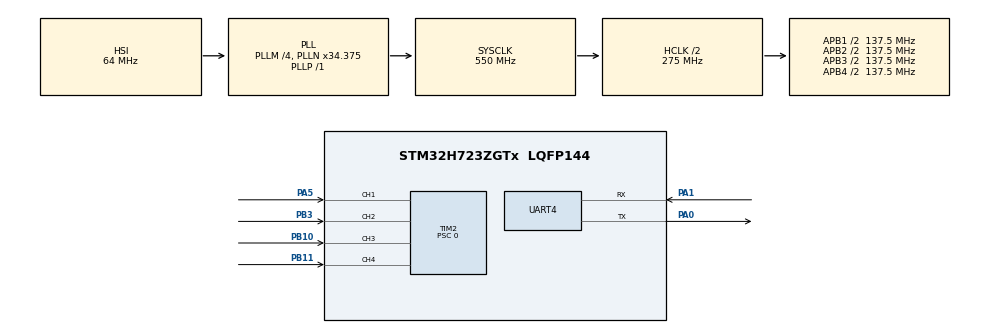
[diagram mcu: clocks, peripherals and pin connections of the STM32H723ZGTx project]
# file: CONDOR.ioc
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CORTEX_M7.default_mode_Activation=1
Dma.Request0=TIM2_CH1
Dma.Request1=TIM2_CH2
Dma.Request2=TIM2_CH3
Dma.Request3=TIM2_CH4
Dma.TIM2_CH1.0.Direction=DMA_PERIPH_TO_MEMORY
Dma.TIM2_CH1.0.EventEnable=DISABLE
Dma.TIM2_CH1.0.FIFOMode=DMA_FIFOMODE_DISABLE
Dma.TIM2_CH1.0.Instance=DMA1_Stream0
Dma.TIM2_CH1.0.MemDataAlignment=DMA_MDATAALIGN_WORD
Dma.TIM2_CH1.0.MemInc=DMA_MINC_ENABLE
Dma.TIM2_CH1.0.Mode=DMA_CIRCULAR
Dma.TIM2_CH1.0.PeriphDataAlignment=DMA_PDATAALIGN_WORD
Dma.TIM2_CH1.0.PeriphInc=DMA_PINC_DISABLE
Dma.TIM2_CH1.0.Polarity=HAL_DMAMUX_REQ_GEN_RISING
Dma.TIM2_CH1.0.Priority=DMA_PRIORITY_LOW
Dma.TIM2_CH1.0.RequestNumber=1
Dma.TIM2_CH1.0.SignalID=NONE
Dma.TIM2_CH1.0.SyncEnable=DISABLE
Dma.TIM2_CH1.0.SyncPolarity=HAL_DMAMUX_SYNC_NO_EVENT
Dma.TIM2_CH1.0.SyncRequestNumber=1
Dma.TIM2_CH1.0.SyncSignalID=NONE
Dma.TIM2_CH2.1.Direction=DMA_PERIPH_TO_MEMORY
Dma.TIM2_CH2.1.EventEnable=DISABLE
Dma.TIM2_CH2.1.FIFOMode=DMA_FIFOMODE_DISABLE
Dma.TIM2_CH2.1.Instance=DMA1_Stream1
Dma.TIM2_CH2.1.MemDataAlignment=DMA_MDATAALIGN_WORD
Dma.TIM2_CH2.1.MemInc=DMA_MINC_ENABLE
Dma.TIM2_CH2.1.Mode=DMA_CIRCULAR
Dma.TIM2_CH2.1.PeriphDataAlignment=DMA_PDATAALIGN_WORD
Dma.TIM2_CH2.1.PeriphInc=DMA_PINC_DISABLE
Dma.TIM2_CH2.1.Polarity=HAL_DMAMUX_REQ_GEN_RISING
Dma.TIM2_CH2.1.Priority=DMA_PRIORITY_LOW
Dma.TIM2_CH2.1.RequestNumber=1
Dma.TIM2_CH2.1.SignalID=NONE
Dma.TIM2_CH2.1.SyncEnable=DISABLE
Dma.TIM2_CH2.1.SyncPolarity=HAL_DMAMUX_SYNC_NO_EVENT
Dma.TIM2_CH2.1.SyncRequestNumber=1
Dma.TIM2_CH2.1.SyncSignalID=NONE
Dma.TIM2_CH3.2.Direction=DMA_PERIPH_TO_MEMORY
Dma.TIM2_CH3.2.EventEnable=DISABLE
Dma.TIM2_CH3.2.FIFOMode=DMA_FIFOMODE_DISABLE
Dma.TIM2_CH3.2.Instance=DMA1_Stream2
Dma.TIM2_CH3.2.MemDataAlignment=DMA_MDATAALIGN_WORD
Dma.TIM2_CH3.2.MemInc=DMA_MINC_ENABLE
Dma.TIM2_CH3.2.Mode=DMA_CIRCULAR
Dma.TIM2_CH3.2.PeriphDataAlignment=DMA_PDATAALIGN_WORD
Dma.TIM2_CH3.2.PeriphInc=DMA_PINC_DISABLE
Dma.TIM2_CH3.2.Polarity=HAL_DMAMUX_REQ_GEN_RISING
Dma.TIM2_CH3.2.Priority=DMA_PRIORITY_LOW
Dma.TIM2_CH3.2.RequestNumber=1
Dma.TIM2_CH3.2.SignalID=NONE
Dma.TIM2_CH3.2.SyncEnable=DISABLE
Dma.TIM2_CH3.2.SyncPolarity=HAL_DMAMUX_SYNC_NO_EVENT
Dma.TIM2_CH3.2.SyncRequestNumber=1
Dma.TIM2_CH3.2.SyncSignalID=NONE
Dma.TIM2_CH4.3.Direction=DMA_PERIPH_TO_MEMORY
Dma.TIM2_CH4.3.EventEnable=DISABLE
Dma.TIM2_CH4.3.FIFOMode=DMA_FIFOMODE_DISABLE
Dma.TIM2_CH4.3.Instance=DMA1_Stream3
Dma.TIM2_CH4.3.MemDataAlignment=DMA_MDATAALIGN_WORD
Dma.TIM2_CH4.3.MemInc=DMA_MINC_ENABLE
Dma.TIM2_CH4.3.Mode=DMA_CIRCULAR
Dma.TIM2_CH4.3.PeriphDataAlignment=DMA_PDATAALIGN_WORD
Dma.TIM2_CH4.3.PeriphInc=DMA_PINC_DISABLE
Dma.TIM2_CH4.3.Polarity=HAL_DMAMUX_REQ_GEN_RISING
Dma.TIM2_CH4.3.Priority=DMA_PRIORITY_LOW
Dma.TIM2_CH4.3.RequestNumber=1
Dma.TIM2_CH4.3.SignalID=NONE
Dma.TIM2_CH4.3.SyncEnable=DISABLE
Dma.TIM2_CH4.3.SyncPolarity=HAL_DMAMUX_SYNC_NO_EVENT
Dma.TIM2_CH4.3.SyncRequestNumber=1
Dma.TIM2_CH4.3.SyncSignalID=NONE
Mcu.Family=STM32H7
Mcu.Name=STM32H723ZGTx
Mcu.Package=LQFP144
NUCLEO-H723ZG.BUTTON=1
NUCLEO-H723ZG.LD1=true
NUCLEO-H723ZG.LD2=true
NUCLEO-H723ZG.LD3=true
NUCLEO-H723ZG.VCP=true
NVIC.DMA1_Stream0_IRQn=true\:0\:0\:false\:false\:true\:false\:true\:true
NVIC.DMA1_Stream1_IRQn=true\:0\:0\:false\:false\:true\:false\:true\:true
NVIC.DMA1_Stream2_IRQn=true\:0\:0\:false\:false\:true\:false\:true\:true
NVIC.DMA1_Stream3_IRQn=true\:0\:0\:false\:false\:true\:false\:true\:true
NVIC.PriorityGroup=NVIC_PRIORITYGROUP_4
NVIC.TIM2_IRQn=true\:0\:0\:false\:false\:true\:true\:true\:true
PA0.Mode=Asynchronous
PA0.Signal=UART4_TX
PA1.Mode=Asynchronous
PA1.Signal=UART4_RX
PA5.Signal=S_TIM2_CH1_ETR
PB10.Signal=S_TIM2_CH3
PB11.Signal=S_TIM2_CH4
PB3(JTDO/TRACESWO).Signal=S_TIM2_CH2
ProjectManager.HeapSize=0x200
ProjectManager.StackSize=0x400
ProjectManager.TargetToolchain=STM32CubeIDE
RCC.ADCFreq_Value=608000000
RCC.APB1Freq_Value=137500000
RCC.APB2Freq_Value=137500000
RCC.APB3Freq_Value=137500000
RCC.APB4Freq_Value=137500000
RCC.CortexFreq_Value=550000000
RCC.D1PPRE=RCC_APB3_DIV2
RCC.D2PPRE1=RCC_APB1_DIV2
RCC.D2PPRE2=RCC_APB2_DIV2
RCC.D3PPRE=RCC_APB4_DIV2
RCC.DIVM1=4
RCC.DIVM2=1
RCC.DIVN1=34
RCC.DIVN2=19
RCC.DIVP1=1
RCC.DIVQ1=4
RCC.HCLKFreq_Value=275000000
RCC.HPRE=RCC_HCLK_DIV2
RCC.HSE_VALUE=8000000
RCC.PLLFRACN=3072
RCC.SYSCLKFreq_VALUE=550000000
RCC.SYSCLKSource=RCC_SYSCLKSOURCE_PLLCLK
RCC.USBCLockSelection=RCC_USBCLKSOURCE_HSI48
RCC.USBFreq_Value=48000000
SH.S_TIM2_CH1_ETR.0=TIM2_CH1,Input_Capture1_from_TI1
SH.S_TIM2_CH2.0=TIM2_CH2,Input_Capture2_from_TI2
SH.S_TIM2_CH3.0=TIM2_CH3,Input_Capture3_from_TI3
SH.S_TIM2_CH4.0=TIM2_CH4,Input_Capture4_from_TI4
TIM2.Channel-Input_Capture1_from_TI1=TIM_CHANNEL_1
TIM2.Channel-Input_Capture2_from_TI2=TIM_CHANNEL_2
TIM2.Channel-Input_Capture3_from_TI3=TIM_CHANNEL_3
TIM2.Channel-Input_Capture4_from_TI4=TIM_CHANNEL_4
TIM2.ICPolarity_CH1=TIM_INPUTCHANNELPOLARITY_BOTHEDGE
TIM2.ICPolarity_CH2=TIM_INPUTCHANNELPOLARITY_BOTHEDGE
TIM2.ICPolarity_CH3=TIM_INPUTCHANNELPOLARITY_BOTHEDGE
TIM2.ICPolarity_CH4=TIM_INPUTCHANNELPOLARITY_BOTHEDGE
TIM2.Prescaler=0
VP_MEMORYMAP_VS_MEMORYMAP.Mode=CurAppReg
VP_TIM2_VS_ClockSourceINT.Mode=Internal
board=NUCLEO-H723ZG

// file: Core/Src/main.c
/* USER CODE BEGIN Header */
/**
  ******************************************************************************
  * @file           : main.c
  * @brief          : Main program body
  ******************************************************************************
  * @attention
  *
  * Copyright (c) 2025 STMicroelectronics.
  * All rights reserved.
  *
  * This software is licensed under terms that can be found in the LICENSE file
  * in the root directory of this software component.
  * If no LICENSE file comes with this software, it is provided AS-IS.
  *
  ******************************************************************************
  */
/* USER CODE END Header */
#include "main.h"

/* USER CODE BEGIN Includes */
#include <stdio.h>

/* USER CODE END Includes */

/* USER CODE BEGIN PTD */
typedef enum {
    PULSE_IDLE = 0,
    PULSE_WAIT_RISING
} PulseState;

typedef struct {
    uint8_t channel;
    uint32_t timestamp;
} Event;

// Maquinas de estado que definen el estado en el que se encuentra el pulso
typedef struct {
    uint32_t t_start;
    uint32_t t_end;
    uint32_t width;
} PulseEvent;

typedef struct {
    PulseState state;
    uint32_t t_start;
} PulseFSM;

/* USER CODE END PTD */

/* USER CODE BEGIN PD */
#define TIM_CLK_HZ 85000000UL
#define PULSE_TIMEOUT_US 1UL   // ejemplo: 50 microsegundos
#define PULSE_TIMEOUT_TICKS (TIM_CLK_HZ / 1000000UL * PULSE_TIMEOUT_US)

#define PULSE_BUF_LEN 64

#define PUTCHAR_PROTOTYPE 		int __io_putchar(int ch)

#define IC_BUF_LEN         16
#define MAX_EVENTS         128

#define COINCIDENCE_WINDOW 2000
/* USER CODE END PD */

TIM_HandleTypeDef htim2;
DMA_HandleTypeDef hdma_tim2_ch1;
DMA_HandleTypeDef hdma_tim2_ch2;
DMA_HandleTypeDef hdma_tim2_ch3;
DMA_HandleTypeDef hdma_tim2_ch4;

UART_HandleTypeDef huart4;

/* USER CODE BEGIN PV */

/* Maquina de estados para procesar los tiempos */
volatile PulseFSM pulse_fsm_ch1 = {
    .state = PULSE_IDLE,
    .t_start = 0
};

volatile PulseFSM pulse_fsm_ch2 = {
    .state = PULSE_IDLE,
    .t_start = 0
};

volatile PulseFSM pulse_fsm_ch3 = {
    .state = PULSE_IDLE,
    .t_start = 0
};

volatile PulseFSM pulse_fsm_ch4 = {
    .state = PULSE_IDLE,
    .t_start = 0
};

volatile PulseEvent pulse_buffer_ch1[PULSE_BUF_LEN];
volatile uint32_t pulse_index_ch1 = 0;

volatile PulseEvent pulse_buffer_ch2[PULSE_BUF_LEN];
volatile uint32_t pulse_index_ch2 = 0;

volatile PulseEvent pulse_buffer_ch3[PULSE_BUF_LEN];
volatile uint32_t pulse_index_ch3 = 0;

volatile PulseEvent pulse_buffer_ch4[PULSE_BUF_LEN];
volatile uint32_t pulse_index_ch4 = 0;

/* Buffers DMA por canal */
uint32_t ic_ch1_buf[IC_BUF_LEN];
uint32_t ic_ch2_buf[IC_BUF_LEN];
uint32_t ic_ch3_buf[IC_BUF_LEN];
uint32_t ic_ch4_buf[IC_BUF_LEN];

// Flags para los canales
volatile uint8_t ic_ch1_ready = 0;
volatile uint8_t ic_ch2_ready = 0;
volatile uint8_t ic_ch3_ready = 0;
volatile uint8_t ic_ch4_ready = 0;

/* Eventos */
volatile Event event_buffer[MAX_EVENTS];
volatile uint32_t event_index = 0;

/* Extensión 64 bits */
volatile uint32_t timer_high = 0;

volatile Event last_event = {0, 0};

/* USER CODE END PV */

void SystemClock_Config(void);
static void MPU_Config(void);
static void MX_GPIO_Init(void);
static void MX_DMA_Init(void);
static void MX_TIM2_Init(void);
static void MX_UART4_Init(void);
/* USER CODE BEGIN PFP */
//static inline void push_event(uint8_t ch, uint32_t ts_low);
void Print_IC_Buffer(uint8_t ch, uint32_t *buf, uint32_t len);
void Process_IC_Buffer_CH1(uint32_t *buf, uint32_t len);
void Process_IC_Buffer_CH2(uint32_t *buf, uint32_t len);
void Process_IC_Buffer_CH3(uint32_t *buf, uint32_t len);
void Process_IC_Buffer_CH4(uint32_t *buf, uint32_t len);
/* USER CODE END PFP */

int main(void)
{

  /* MPU Configuration--------------------------------------------------------*/
  MPU_Config();

  /* MCU Configuration--------------------------------------------------------*/

  /* Reset of all peripherals, Initializes the Flash interface and the Systick. */
  HAL_Init();

  /* Configure the system clock */
  SystemClock_Config();

  /* Initialize all configured peripherals */
  MX_GPIO_Init();
  MX_DMA_Init();
  MX_TIM2_Init();
  MX_UART4_Init();
  /* USER CODE BEGIN 2 */
  HAL_NVIC_SetPriority(TIM2_IRQn, 1, 0);
  HAL_NVIC_EnableIRQ(TIM2_IRQn);
  HAL_TIM_Base_Start(&htim2);

  HAL_TIM_IC_Start_DMA(&htim2, TIM_CHANNEL_1, ic_ch1_buf, IC_BUF_LEN);
  HAL_TIM_IC_Start_DMA(&htim2, TIM_CHANNEL_2, ic_ch2_buf, IC_BUF_LEN);
  HAL_TIM_IC_Start_DMA(&htim2, TIM_CHANNEL_3, ic_ch3_buf, IC_BUF_LEN);
  HAL_TIM_IC_Start_DMA(&htim2, TIM_CHANNEL_4, ic_ch4_buf, IC_BUF_LEN);

  /* USER CODE END 2 */

  /* Infinite loop */
  /* USER CODE BEGIN WHILE */
  printf("Hello - Test\n");
  while (1)
  {
    /* USER CODE END WHILE */

    /* USER CODE BEGIN 3 */
      if (pulse_fsm_ch1.state == PULSE_WAIT_RISING)
      {
          uint32_t now = __HAL_TIM_GET_COUNTER(&htim2);
          uint32_t dt = now - pulse_fsm_ch1.t_start;

          // Codigo del Timeout para resetear el estado si es que no se decta un flanco de subida en un tiempo defonido (1 microsegundos)
          if (dt > PULSE_TIMEOUT_TICKS)
          {
              pulse_fsm_ch1.state = PULSE_IDLE;
          }

      }

      if (pulse_fsm_ch2.state == PULSE_WAIT_RISING)
      {
          uint32_t now = __HAL_TIM_GET_COUNTER(&htim2);
          uint32_t dt = now - pulse_fsm_ch2.t_start;

          // Codigo del Timeout para resetear el estado si es que no se decta un flanco de subida en un tiempo defonido (1 microsegundos)
          if (dt > PULSE_TIMEOUT_TICKS)
          {
              pulse_fsm_ch2.state = PULSE_IDLE;
          }

      }

      if (pulse_fsm_ch3.state == PULSE_WAIT_RISING)
      {
          uint32_t now = __HAL_TIM_GET_COUNTER(&htim2);
          uint32_t dt = now - pulse_fsm_ch3.t_start;

          // Codigo del Timeout para resetear el estado si es que no se decta un flanco de subida en un tiempo defonido (1 microsegundos)
          if (dt > PULSE_TIMEOUT_TICKS)
          {
              pulse_fsm_ch3.state = PULSE_IDLE;
          }

      }

      if (pulse_fsm_ch4.state == PULSE_WAIT_RISING)
      {
          uint32_t now = __HAL_TIM_GET_COUNTER(&htim2);
          uint32_t dt = now - pulse_fsm_ch4.t_start;

          // Codigo del Timeout para resetear el estado si es que no se decta un flanco de subida en un tiempo defonido (1 microsegundos)
          if (dt > PULSE_TIMEOUT_TICKS)
          {
              pulse_fsm_ch4.state = PULSE_IDLE;
          }

      }

      // Detecta el flanco de Bajada y de Subida (CH1)
      if (ic_ch1_ready)
      {
          ic_ch1_ready = 0;
          Process_IC_Buffer_CH1(ic_ch1_buf, IC_BUF_LEN);
          //Process_Falling_Buffer(ic_ch1_buf, IC_BUF_LEN);
          //Process_Rising_Buffer(ic_ch2_buf, IC_BUF_LEN);
          //Print_IC_Buffer(1, ic_ch1_buf, IC_BUF_LEN);
      }
      if (ic_ch2_ready)
      {
          ic_ch2_ready = 0;
          Process_IC_Buffer_CH2(ic_ch2_buf, IC_BUF_LEN);
          //Process_Falling_Buffer(ic_ch1_buf, IC_BUF_LEN);
          //Process_Rising_Buffer(ic_ch2_buf, IC_BUF_LEN);
          //Print_IC_Buffer(2, ic_ch2_buf, IC_BUF_LEN);
      }
      if (ic_ch3_ready)
      {
          ic_ch3_ready = 0;
          Process_IC_Buffer_CH3(ic_ch3_buf, IC_BUF_LEN);
          //Process_Falling_Buffer(ic_ch3_buf, IC_BUF_LEN);
          //Process_Rising_Buffer(ic_ch4_buf, IC_BUF_LEN);
          //Print_IC_Buffer(3, ic_ch3_buf, IC_BUF_LEN);
      }
      if (ic_ch4_ready)
      {
          ic_ch4_ready = 0;
          Process_IC_Buffer_CH4(ic_ch4_buf, IC_BUF_LEN);
          //Process_Falling_Buffer(ic_ch3_buf, IC_BUF_LEN);
          //Process_Rising_Buffer(ic_ch4_buf, IC_BUF_LEN);
          //Print_IC_Buffer(4, ic_ch4_buf, IC_BUF_LEN);
      }
  }
  /* USER CODE END 3 */
}

void SystemClock_Config(void)
{
  RCC_OscInitTypeDef RCC_OscInitStruct = {0};
  RCC_ClkInitTypeDef RCC_ClkInitStruct = {0};

  /** Supply configuration update enable
  */
  HAL_PWREx_ConfigSupply(PWR_LDO_SUPPLY);

  /** Configure the main internal regulator output voltage
  */
  __HAL_PWR_VOLTAGESCALING_CONFIG(PWR_REGULATOR_VOLTAGE_SCALE0);

  while(!__HAL_PWR_GET_FLAG(PWR_FLAG_VOSRDY)) {}

  /** Initializes the RCC Oscillators according to the specified parameters
  * in the RCC_OscInitTypeDef structure.
  */
  RCC_OscInitStruct.OscillatorType = RCC_OSCILLATORTYPE_HSI;
  RCC_OscInitStruct.HSIState = RCC_HSI_DIV1;
  RCC_OscInitStruct.HSICalibrationValue = 64;
  RCC_OscInitStruct.PLL.PLLState = RCC_PLL_ON;
  RCC_OscInitStruct.PLL.PLLSource = RCC_PLLSOURCE_HSI;
  RCC_OscInitStruct.PLL.PLLM = 4;
  RCC_OscInitStruct.PLL.PLLN = 34;
  RCC_OscInitStruct.PLL.PLLP = 1;
  RCC_OscInitStruct.PLL.PLLQ = 4;
  RCC_OscInitStruct.PLL.PLLR = 2;
  RCC_OscInitStruct.PLL.PLLRGE = RCC_PLL1VCIRANGE_3;
  RCC_OscInitStruct.PLL.PLLVCOSEL = RCC_PLL1VCOWIDE;
  RCC_OscInitStruct.PLL.PLLFRACN = 3072;
  if (HAL_RCC_OscConfig(&RCC_OscInitStruct) != HAL_OK)
  {
    Error_Handler();
  }

  /** Initializes the CPU, AHB and APB buses clocks
  */
  RCC_ClkInitStruct.ClockType = RCC_CLOCKTYPE_HCLK|RCC_CLOCKTYPE_SYSCLK
                              |RCC_CLOCKTYPE_PCLK1|RCC_CLOCKTYPE_PCLK2
                              |RCC_CLOCKTYPE_D3PCLK1|RCC_CLOCKTYPE_D1PCLK1;
  RCC_ClkInitStruct.SYSCLKSource = RCC_SYSCLKSOURCE_PLLCLK;
  RCC_ClkInitStruct.SYSCLKDivider = RCC_SYSCLK_DIV1;
  RCC_ClkInitStruct.AHBCLKDivider = RCC_HCLK_DIV2;
  RCC_ClkInitStruct.APB3CLKDivider = RCC_APB3_DIV2;
  RCC_ClkInitStruct.APB1CLKDivider = RCC_APB1_DIV2;
  RCC_ClkInitStruct.APB2CLKDivider = RCC_APB2_DIV2;
  RCC_ClkInitStruct.APB4CLKDivider = RCC_APB4_DIV2;

  if (HAL_RCC_ClockConfig(&RCC_ClkInitStruct, FLASH_LATENCY_3) != HAL_OK)
  {
    Error_Handler();
  }
}

static void MX_TIM2_Init(void)
{

  TIM_ClockConfigTypeDef sClockSourceConfig = {0};
  TIM_MasterConfigTypeDef sMasterConfig = {0};
  TIM_IC_InitTypeDef sConfigIC = {0};

  htim2.Instance = TIM2;
  htim2.Init.Prescaler = 0;
  htim2.Init.CounterMode = TIM_COUNTERMODE_UP;
  htim2.Init.Period = 4294967295;
  htim2.Init.ClockDivision = TIM_CLOCKDIVISION_DIV1;
  htim2.Init.AutoReloadPreload = TIM_AUTORELOAD_PRELOAD_DISABLE;
  if (HAL_TIM_Base_Init(&htim2) != HAL_OK)
  {
    Error_Handler();
  }
  sClockSourceConfig.ClockSource = TIM_CLOCKSOURCE_INTERNAL;
  if (HAL_TIM_ConfigClockSource(&htim2, &sClockSourceConfig) != HAL_OK)
  {
    Error_Handler();
  }
  if (HAL_TIM_IC_Init(&htim2) != HAL_OK)
  {
    Error_Handler();
  }
  sMasterConfig.MasterOutputTrigger = TIM_TRGO_RESET;
  sMasterConfig.MasterSlaveMode = TIM_MASTERSLAVEMODE_DISABLE;
  if (HAL_TIMEx_MasterConfigSynchronization(&htim2, &sMasterConfig) != HAL_OK)
  {
    Error_Handler();
  }
  sConfigIC.ICPolarity = TIM_INPUTCHANNELPOLARITY_BOTHEDGE;
  sConfigIC.ICSelection = TIM_ICSELECTION_DIRECTTI;
  sConfigIC.ICPrescaler = TIM_ICPSC_DIV1;
  sConfigIC.ICFilter = 0;
  if (HAL_TIM_IC_ConfigChannel(&htim2, &sConfigIC, TIM_CHANNEL_1) != HAL_OK)
  {
    Error_Handler();
  }
  if (HAL_TIM_IC_ConfigChannel(&htim2, &sConfigIC, TIM_CHANNEL_2) != HAL_OK)
  {
    Error_Handler();
  }
  if (HAL_TIM_IC_ConfigChannel(&htim2, &sConfigIC, TIM_CHANNEL_3) != HAL_OK)
  {
    Error_Handler();
  }
  if (HAL_TIM_IC_ConfigChannel(&htim2, &sConfigIC, TIM_CHANNEL_4) != HAL_OK)
  {
    Error_Handler();
  }

}

static void MX_UART4_Init(void)
{

  huart4.Instance = UART4;
  huart4.Init.BaudRate = 115200;
  huart4.Init.WordLength = UART_WORDLENGTH_8B;
  huart4.Init.StopBits = UART_STOPBITS_1;
  huart4.Init.Parity = UART_PARITY_NONE;
  huart4.Init.Mode = UART_MODE_TX_RX;
  huart4.Init.HwFlowCtl = UART_HWCONTROL_NONE;
  huart4.Init.OverSampling = UART_OVERSAMPLING_16;
  huart4.Init.OneBitSampling = UART_ONE_BIT_SAMPLE_DISABLE;
  huart4.Init.ClockPrescaler = UART_PRESCALER_DIV1;
  huart4.AdvancedInit.AdvFeatureInit = UART_ADVFEATURE_NO_INIT;
  if (HAL_UART_Init(&huart4) != HAL_OK)
  {
    Error_Handler();
  }
  if (HAL_UARTEx_SetTxFifoThreshold(&huart4, UART_TXFIFO_THRESHOLD_1_8) != HAL_OK)
  {
    Error_Handler();
  }
  if (HAL_UARTEx_SetRxFifoThreshold(&huart4, UART_RXFIFO_THRESHOLD_1_8) != HAL_OK)
  {
    Error_Handler();
  }
  if (HAL_UARTEx_DisableFifoMode(&huart4) != HAL_OK)
  {
    Error_Handler();
  }

}

static void MX_DMA_Init(void)
{

  /* DMA controller clock enable */
  __HAL_RCC_DMA1_CLK_ENABLE();

  /* DMA interrupt init */
  /* DMA1_Stream0_IRQn interrupt configuration */
  HAL_NVIC_SetPriority(DMA1_Stream0_IRQn, 0, 0);
  HAL_NVIC_EnableIRQ(DMA1_Stream0_IRQn);
  /* DMA1_Stream1_IRQn interrupt configuration */
  HAL_NVIC_SetPriority(DMA1_Stream1_IRQn, 0, 0);
  HAL_NVIC_EnableIRQ(DMA1_Stream1_IRQn);
  /* DMA1_Stream2_IRQn interrupt configuration */
  HAL_NVIC_SetPriority(DMA1_Stream2_IRQn, 0, 0);
  HAL_NVIC_EnableIRQ(DMA1_Stream2_IRQn);
  /* DMA1_Stream3_IRQn interrupt configuration */
  HAL_NVIC_SetPriority(DMA1_Stream3_IRQn, 0, 0);
  HAL_NVIC_EnableIRQ(DMA1_Stream3_IRQn);

}

static void MX_GPIO_Init(void)
{

  /* GPIO Ports Clock Enable */
  __HAL_RCC_GPIOA_CLK_ENABLE();
  __HAL_RCC_GPIOB_CLK_ENABLE();

}

/* USER CODE BEGIN 4 */

// En esta función hacemos el callback del DMA se ejecute cuando el buffer esté completo
void HAL_TIM_IC_CaptureCallback(TIM_HandleTypeDef *htim)
{
    if ((htim->Channel == HAL_TIM_ACTIVE_CHANNEL_1) ||
            (htim->hdma[TIM_DMA_ID_CC1] != NULL && htim->hdma[TIM_DMA_ID_CC1]->State == HAL_DMA_STATE_READY))
    {
        ic_ch1_ready = 1;
    }
    if ((htim->Channel == HAL_TIM_ACTIVE_CHANNEL_2) ||
            (htim->hdma[TIM_DMA_ID_CC2] != NULL && htim->hdma[TIM_DMA_ID_CC2]->State == HAL_DMA_STATE_READY))
    {
        ic_ch2_ready = 1;
    }
    if ((htim->Channel == HAL_TIM_ACTIVE_CHANNEL_3) ||
            (htim->hdma[TIM_DMA_ID_CC3] != NULL && htim->hdma[TIM_DMA_ID_CC3]->State == HAL_DMA_STATE_READY))
    {
        ic_ch3_ready = 1;
    }
    if ((htim->Channel == HAL_TIM_ACTIVE_CHANNEL_4) ||
            (htim->hdma[TIM_DMA_ID_CC4] != NULL && htim->hdma[TIM_DMA_ID_CC4]->State == HAL_DMA_STATE_READY))
    {
        ic_ch4_ready = 1;
    }
}

// Función para imprimir los buffers
void Print_IC_Buffer(uint8_t ch, uint32_t *buf, uint32_t len)
{
    for (uint32_t i = 0; i < len; i++)
    {
        printf("EVENTO: CH%u | t=%lu\r\n", ch, buf[i]);
    }
}

void Process_IC_Buffer_CH1(uint32_t *buf, uint32_t len)
{
    for (uint32_t i = 0; i < len; i++)
    {
        uint32_t t = buf[i];

        if (pulse_fsm_ch1.state == PULSE_IDLE)
        {
            // Flanco descendente: inicia detección
            pulse_fsm_ch1.t_start = t;
            pulse_fsm_ch1.state = PULSE_WAIT_RISING;
        }
        else if (pulse_fsm_ch1.state == PULSE_WAIT_RISING)
        {
            // Flanco ascendente: calcula ancho
            uint32_t width = t - pulse_fsm_ch1.t_start;

            if (width > 0 && width <= PULSE_TIMEOUT_TICKS)
            {
                pulse_buffer_ch1[pulse_index_ch1].t_start = pulse_fsm_ch1.t_start;
                pulse_buffer_ch1[pulse_index_ch1].t_end   = t;
                pulse_buffer_ch1[pulse_index_ch1].width   = width;
                pulse_index_ch1++;

                if (pulse_index_ch1 >= PULSE_BUF_LEN)
                {
                    printf("==== PULSOS CH1 ====\r\n");
                    for (uint32_t j = 0; j < PULSE_BUF_LEN; j++)
                    {
                        printf("CH1 PULSO %lu: WIDTH=%lu ticks (%.2f us)\r\n",
                               j, pulse_buffer_ch1[j].width,
                               (float)pulse_buffer_ch1[j].width / (TIM_CLK_HZ / 1000000.0f));
                    }
                    pulse_index_ch1 = 0;
                }
            }

            pulse_fsm_ch1.state = PULSE_IDLE;
        }
    }
}

void Process_IC_Buffer_CH2(uint32_t *buf, uint32_t len)
{
    for (uint32_t i = 0; i < len; i++)
    {
        uint32_t t = buf[i];

        if (pulse_fsm_ch2.state == PULSE_IDLE)
        {
            pulse_fsm_ch2.t_start = t;
            pulse_fsm_ch2.state = PULSE_WAIT_RISING;
        }
        else if (pulse_fsm_ch2.state == PULSE_WAIT_RISING)
        {
            uint32_t width = t - pulse_fsm_ch2.t_start;

            if (width > 0 && width <= PULSE_TIMEOUT_TICKS)
            {
                pulse_buffer_ch2[pulse_index_ch2].t_start = pulse_fsm_ch2.t_start;
                pulse_buffer_ch2[pulse_index_ch2].t_end   = t;
                pulse_buffer_ch2[pulse_index_ch2].width   = width;
                pulse_index_ch2++;

                if (pulse_index_ch2 >= PULSE_BUF_LEN)
                {
                    printf("==== PULSOS CH2 ====\r\n");
                    for (uint32_t j = 0; j < PULSE_BUF_LEN; j++)
                    {
                        printf("CH2 PULSO %lu: WIDTH=%lu ticks (%.2f us)\r\n",
                               j, pulse_buffer_ch2[j].width,
                               (float)pulse_buffer_ch2[j].width / (TIM_CLK_HZ / 1000000.0f));
                    }
                    pulse_index_ch2 = 0;
                }
            }

            pulse_fsm_ch2.state = PULSE_IDLE;
        }
    }
}

void Process_IC_Buffer_CH3(uint32_t *buf, uint32_t len)
{
    for (uint32_t i = 0; i < len; i++)
    {
        uint32_t t = buf[i];

        if (pulse_fsm_ch3.state == PULSE_IDLE)
        {
            pulse_fsm_ch3.t_start = t;
            pulse_fsm_ch3.state = PULSE_WAIT_RISING;
        }
        else if (pulse_fsm_ch3.state == PULSE_WAIT_RISING)
        {
            uint32_t width = t - pulse_fsm_ch3.t_start;

            if (width > 0 && width <= PULSE_TIMEOUT_TICKS)
            {
                pulse_buffer_ch3[pulse_index_ch3].t_start = pulse_fsm_ch3.t_start;
                pulse_buffer_ch3[pulse_index_ch3].t_end   = t;
                pulse_buffer_ch3[pulse_index_ch3].width   = width;
                pulse_index_ch3++;

                if (pulse_index_ch3 >= PULSE_BUF_LEN)
                {
                    printf("==== PULSOS CH3 ====\r\n");
                    for (uint32_t j = 0; j < PULSE_BUF_LEN; j++)
                    {
                        printf("CH3 PULSO %lu: WIDTH=%lu ticks (%.2f us)\r\n",
                               j, pulse_buffer_ch3[j].width,
                               (float)pulse_buffer_ch3[j].width / (TIM_CLK_HZ / 1000000.0f));
                    }
                    pulse_index_ch3 = 0;
                }
            }

            pulse_fsm_ch3.state = PULSE_IDLE;
        }
    }
}

void Process_IC_Buffer_CH4(uint32_t *buf, uint32_t len)
{
    for (uint32_t i = 0; i < len; i++)
    {
        uint32_t t = buf[i];

        if (pulse_fsm_ch4.state == PULSE_IDLE)
        {
            pulse_fsm_ch4.t_start = t;
            pulse_fsm_ch4.state = PULSE_WAIT_RISING;
        }
        else if (pulse_fsm_ch4.state == PULSE_WAIT_RISING)
        {
            uint32_t width = t - pulse_fsm_ch4.t_start;

            if (width > 0 && width <= PULSE_TIMEOUT_TICKS)
            {
                pulse_buffer_ch4[pulse_index_ch4].t_start = pulse_fsm_ch4.t_start;
                pulse_buffer_ch4[pulse_index_ch4].t_end   = t;
                pulse_buffer_ch4[pulse_index_ch4].width   = width;
                pulse_index_ch4++;

                if (pulse_index_ch4 >= PULSE_BUF_LEN)
                {
                    printf("==== PULSOS CH4 ====\r\n");
                    for (uint32_t j = 0; j < PULSE_BUF_LEN; j++)
                    {
                        printf("CH4 PULSO %lu: WIDTH=%lu ticks (%.2f us)\r\n",
                               j, pulse_buffer_ch4[j].width,
                               (float)pulse_buffer_ch4[j].width / (TIM_CLK_HZ / 1000000.0f));
                    }
                    pulse_index_ch4 = 0;
                }
            }

            pulse_fsm_ch4.state = PULSE_IDLE;
        }
    }
}

//void Process_Falling_Buffer(uint32_t *buf, uint32_t len)
//{
//    for (uint32_t i = 0; i < len; i++)
//    {
//        uint32_t t = buf[i]; // ticks crudos del timer
//
//        // Cambios en la maquina de estados (ocurre una bajada por lo que se queda esperando flanco de subida una vez que ocurre una bajada)
//        if (pulse_fsm_ch1.state == PULSE_IDLE)
//        {
//            pulse_fsm_ch1.t_start = t;
//            pulse_fsm_ch1.state = PULSE_WAIT_RISING;
//        }
//        else
//        {
//            // Bajada inesperada, entonces descartar
//            pulse_fsm_ch1.state = PULSE_IDLE;
//        }
//    }
//}

//void Process_Rising_Buffer(uint32_t *buf, uint32_t len)
//{
//    for (uint32_t i = 0; i < len; i++)
//    {
//        uint32_t t = buf[i];
//
//        // Detecta el cambio al flanco de subida por lo que saca el ancho del pulso
//        if (pulse_fsm_ch1.state == PULSE_WAIT_RISING)
//        {
//            uint32_t width = t - pulse_fsm_ch1.t_start;
//
//            // Implementación del Timeout
//            if (width <= PULSE_TIMEOUT_TICKS)
//            {
//                // Se almacenan los valores de el ancho de pulso y los timestamps de subida y bajada de flancos
//                pulse_buffer[pulse_index].t_start = pulse_fsm_ch1.t_start;
//                pulse_buffer[pulse_index].t_end   = t;
//                pulse_buffer[pulse_index].width   = width;
//
//                pulse_index++;
//
//                // Esta logica comienza una vez que el buffer se llena, entonces imprime los datos del buffer almacenados
//                if (pulse_index >= PULSE_BUF_LEN)
//                {
//                    printf("---- PULSOS ----\r\n");
//                    for (uint32_t j = 0; j < PULSE_BUF_LEN; j++)
//                    {
//                        printf("START=%lu | END=%lu | WIDTH=%lu ticks\r\n", pulse_buffer[j].t_start, pulse_buffer[j].t_end, pulse_buffer[j].width);
//                    }
//                    pulse_index = 0;
//                }
//            }
//
//            pulse_fsm_ch1.state = PULSE_IDLE;
//        }
//    }
//}

/* Overflow del TIM2 → extiende a 64 bits */
void HAL_TIM_PeriodElapsedCallback(TIM_HandleTypeDef *htim)
{
    if (htim->Instance == TIM2)
        timer_high++;
}

/* Redirección printf a UART */
PUTCHAR_PROTOTYPE
{
    HAL_UART_Transmit(&huart4, (uint8_t *)&ch, 1, HAL_MAX_DELAY);
    return ch;
}

/* USER CODE END 4 */

 /* MPU Configuration */

void MPU_Config(void)
{
  MPU_Region_InitTypeDef MPU_InitStruct = {0};

  /* Disables the MPU */
  HAL_MPU_Disable();

  /** Initializes and configures the Region and the memory to be protected
  */
  MPU_InitStruct.Enable = MPU_REGION_ENABLE;
  MPU_InitStruct.Number = MPU_REGION_NUMBER0;
  MPU_InitStruct.BaseAddress = 0x0;
  MPU_InitStruct.Size = MPU_REGION_SIZE_4GB;
  MPU_InitStruct.SubRegionDisable = 0x87;
  MPU_InitStruct.TypeExtField = MPU_TEX_LEVEL0;
  MPU_InitStruct.AccessPermission = MPU_REGION_NO_ACCESS;
  MPU_InitStruct.DisableExec = MPU_INSTRUCTION_ACCESS_DISABLE;
  MPU_InitStruct.IsShareable = MPU_ACCESS_SHAREABLE;
  MPU_InitStruct.IsCacheable = MPU_ACCESS_NOT_CACHEABLE;
  MPU_InitStruct.IsBufferable = MPU_ACCESS_NOT_BUFFERABLE;

  HAL_MPU_ConfigRegion(&MPU_InitStruct);
  /* Enables the MPU */
  HAL_MPU_Enable(MPU_PRIVILEGED_DEFAULT);

}

void Error_Handler(void)
{
  __disable_irq();
  while (1)
  {
  }
}
